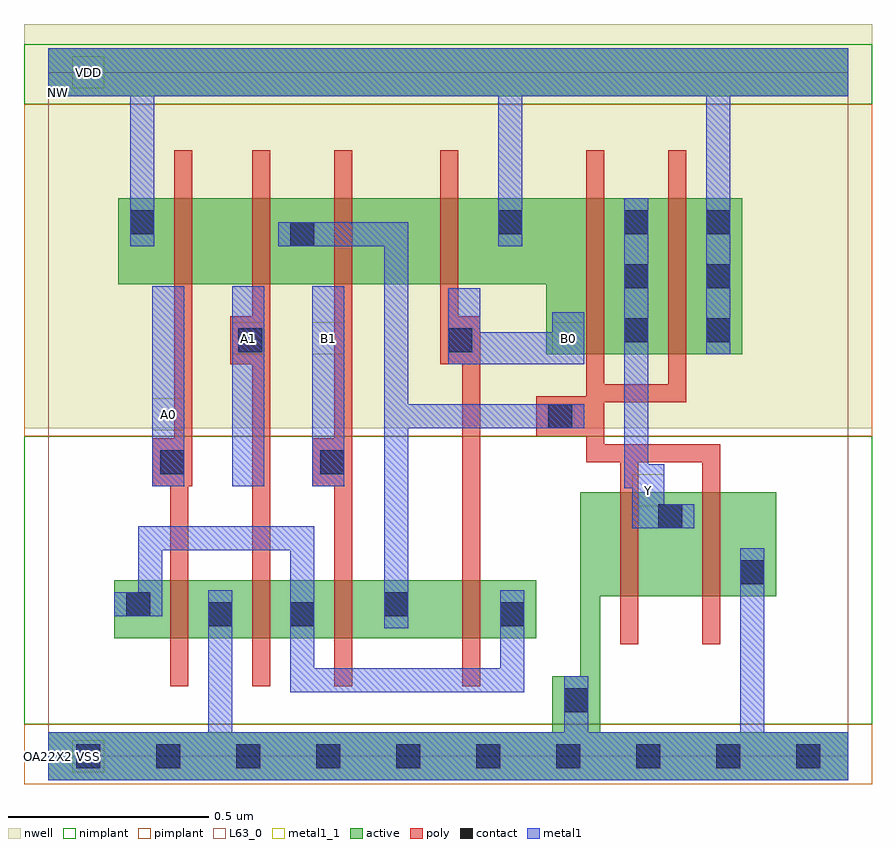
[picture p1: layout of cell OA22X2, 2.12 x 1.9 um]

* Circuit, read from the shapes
.subckt OA22X2 A0 A1 B0 B1 NW VDD VSS Y
M1 VSS A0 n1 VSS nfet w=0.145u l=0.045u
M2 n1 A1 VSS VSS nfet w=0.145u l=0.045u
M3 n2 B1 n1 VSS nfet w=0.145u l=0.045u
M4 n1 B0 n2 VSS nfet w=0.145u l=0.045u
M5 Y n2 VSS VSS nfet w=0.26u l=0.045u m=2
M6 n3 A0 VDD NW pfet w=0.215u l=0.045u
M7 n2 A1 n3 NW pfet w=0.215u l=0.045u
M8 n4 B1 n2 NW pfet w=0.215u l=0.045u
M9 VDD B0 n4 NW pfet w=0.215u l=0.045u
M10 Y n2 VDD NW pfet w=0.39u l=0.045u m=2
.ends

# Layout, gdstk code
import gdstk
lib = gdstk.Library(unit=1e-6, precision=5e-10)
def R(c, l, rs):  # rectangles x0, y0, x1, y1
    for r in rs: c.add(gdstk.rectangle(r[:2], r[2:], *l))
def A(c, l, x, y, w, h, nx, ny, dx, dy):  # array of equal rectangles
    R(c, l, [(x+i*dx, y+j*dy, x+i*dx+w, y+j*dy+h) for i in range(nx) for j in range(ny)])
def P(c, l, *ps):  # polygons
    for p in ps: c.add(gdstk.Polygon(p, *l))
active = (1, 0)
nwell = (2, 0)
poly = (3, 0)
nimplant = (4, 0)
pimplant = (5, 0)
contact = (6, 0)
metal1 = (7, 0)
metal1_1 = (7, 1)
L63_0 = (63, 0)

oa22x2 = lib.new_cell('OA22X2')
R(oa22x2, active, [(0,-0.06,2,0.06), (0.165,0.295,1.22,0.44), (0,1.65,2,1.77)])
P(oa22x2, active, [(0.175,1.395),(1.735,1.395),(1.735,1.005),(1.245,1.005),(1.245,1.18),(0.175,1.18)],
  [(1.82,0.66),(1.33,0.66),(1.33,0.2),(1.26,0.2),(1.26,0.06),(1.38,0.06),(1.38,0.4),(1.82,0.4)])
R(oa22x2, nwell, [(-0.06,0.82,2.06,1.83), (0,1.61,0.05,1.71)])
P(oa22x2, poly, [(0.315,1.515),(0.36,1.515),(0.36,0.675),(0.35,0.675),(0.35,0.175),(0.305,0.175),(0.305,0.675),(0.26,0.675),(0.26,0.795),(0.315,0.795)],
  [(0.51,1.515),(0.555,1.515),(0.555,0.175),(0.51,0.175),(0.51,0.98),(0.455,0.98),(0.455,1.1),(0.51,1.1)],
  [(0.715,1.515),(0.76,1.515),(0.76,0.175),(0.715,0.175),(0.715,0.675),(0.66,0.675),(0.66,0.795),(0.715,0.795)],
  [(0.98,1.515),(1.025,1.515),(1.025,1.1),(1.08,1.1),(1.08,0.175),(1.035,0.175),(1.035,0.98),(0.98,0.98)],
  [(1.345,1.515),(1.39,1.515),(1.39,0.93),(1.55,0.93),(1.55,1.515),(1.595,1.515),(1.595,0.885),(1.39,0.885),(1.39,0.78),(1.68,0.78),(1.68,0.28),(1.635,0.28),(1.635,0.735),(1.475,0.735),(1.475,0.28),(1.43,0.28),(1.43,0.735),(1.345,0.735),(1.345,0.8),(1.22,0.8),(1.22,0.9),(1.345,0.9)])
R(oa22x2, nimplant, [(-0.06,0.08,2.06,0.8), (-0.06,1.63,2.06,1.78)])
R(oa22x2, pimplant, [(-0.06,-0.07,2.06,0.08), (-0.06,0.8,2.06,1.63)])
A(oa22x2, contact, 0.07, -0.03, 0.06, 0.06, 10, 1, 0.2, 0)
A(oa22x2, contact, 1.44, 1.035, 0.06, 0.06, 1, 3, 0, 0.135)
A(oa22x2, contact, 1.645, 1.035, 0.06, 0.06, 1, 3, 0, 0.135)
R(oa22x2, contact, [(1.29,0.11,1.35,0.17), (0.4,0.325,0.46,0.385), (0.605,0.325,0.665,0.385), (1.13,0.325,1.19,0.385), (0.195,0.35,0.255,0.41), (0.84,0.35,0.9,0.41), (1.73,0.43,1.79,0.49), (1.525,0.57,1.585,0.63), (0.28,0.705,0.34,0.765), (0.68,0.705,0.74,0.765), (1.25,0.82,1.31,0.88), (0.475,1.01,0.535,1.07), (1,1.01,1.06,1.07), (0.605,1.275,0.665,1.335), (0.205,1.305,0.265,1.365), (1.125,1.305,1.185,1.365)])
A(oa22x2, metal1, 0.26, 0.675, 0.08, 0.5, 3, 1, 0.2, 0)
R(oa22x2, metal1, [(0.4,0.06,0.46,0.415), (1.29,0.06,1.35,0.2), (1.73,0.06,1.79,0.52), (1.645,1.005,1.705,1.65), (0.205,1.275,0.265,1.65), (1.125,1.275,1.185,1.65)])
P(oa22x2, metal1, [(0.575,1.335),(0.9,1.335),(0.9,0.88),(1.34,0.88),(1.34,0.82),(0.9,0.82),(0.9,0.32),(0.84,0.32),(0.84,1.275),(0.575,1.275)],
  [(1.44,1.395),(1.5,1.395),(1.5,0.73),(1.54,0.73),(1.54,0.63),(1.615,0.63),(1.615,0.57),(1.46,0.57),(1.46,0.67),(1.44,0.67)],
  [(1,1.17),(1.08,1.17),(1.08,1.06),(1.26,1.06),(1.26,1.11),(1.34,1.11),(1.34,0.98),(1,0.98)],
  [(0.225,0.575),(0.665,0.575),(0.665,0.22),(1.13,0.22),(1.13,0.415),(1.19,0.415),(1.19,0.16),(0.605,0.16),(0.605,0.515),(0.285,0.515),(0.285,0.35),(0.165,0.35),(0.165,0.41),(0.225,0.41)])
R(oa22x2, metal1_1, [(0.06,-0.04,0.14,0.04), (1.46,0.625,1.54,0.705), (0.26,0.815,0.34,0.895), (0.46,1.005,0.54,1.085), (0.66,1.005,0.74,1.085), (1.26,1.005,1.34,1.085), (0.06,1.67,0.14,1.75)])
R(oa22x2, L63_0, [(0,0,2,1.71)])
oa22x2.add(gdstk.FlexPath([(0,0),(2,0)], 0.12, ends="flush", simple_path=True, layer=7, datatype=0))  # metal1
oa22x2.add(gdstk.FlexPath([(0,1.71),(2,1.71)], 0.12, ends="flush", simple_path=True, layer=7, datatype=0))  # metal1
oa22x2.add(gdstk.Label('Y', (1.5,0.665), layer=7, texttype=1))
oa22x2.add(gdstk.Label('B0', (1.3,1.045), layer=7, texttype=1))
oa22x2.add(gdstk.Label('A1', (0.5,1.045), layer=7, texttype=1))
oa22x2.add(gdstk.Label('A0', (0.3,0.855), layer=7, texttype=1))
oa22x2.add(gdstk.Label('B1', (0.7,1.045), layer=7, texttype=1))
oa22x2.add(gdstk.Label('VDD', (0.1,1.71), layer=7, texttype=1))
oa22x2.add(gdstk.Label('VSS', (0.1,0), layer=7, texttype=1))
oa22x2.add(gdstk.Label('VSS', (0.1,0), layer=7, texttype=1))
oa22x2.add(gdstk.Label('VDD', (0.1,1.71), layer=7, texttype=1))
oa22x2.add(gdstk.Label('B1', (0.7,1.045), layer=7, texttype=1))
oa22x2.add(gdstk.Label('A0', (0.3,0.855), layer=7, texttype=1))
oa22x2.add(gdstk.Label('A1', (0.5,1.045), layer=7, texttype=1))
oa22x2.add(gdstk.Label('B0', (1.3,1.045), layer=7, texttype=1))
oa22x2.add(gdstk.Label('Y', (1.5,0.665), layer=7, texttype=1))
oa22x2.add(gdstk.Label('OA22X2', (0,0), layer=63, texttype=0))
oa22x2.add(gdstk.Label('NW', (0.025,1.66), layer=2, texttype=0))
oa22x2.add(gdstk.Label('NW', (0.025,1.63), layer=2, texttype=0))

lib.write_gds('OA22X2.gds')
